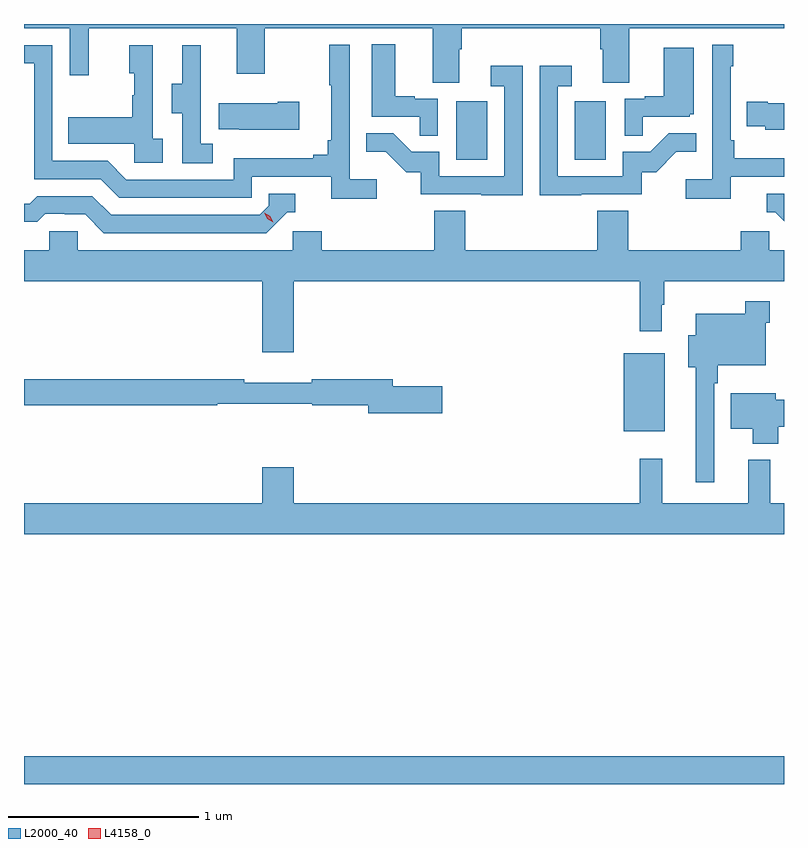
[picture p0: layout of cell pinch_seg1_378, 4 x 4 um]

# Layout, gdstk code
import gdstk
lib = gdstk.Library(unit=1e-6, precision=1e-09)
def R(c, l, rs):  # rectangles x0, y0, x1, y1
    for r in rs: c.add(gdstk.rectangle(r[:2], r[2:], *l))
def P(c, l, *ps):  # polygons
    for p in ps: c.add(gdstk.Polygon(p, *l))
L2000_40 = (2000, 40)
L4158_0 = (4158, 0)

pinch_seg1_378 = lib.new_cell('pinch_seg1_378')
R(pinch_seg1_378, L2000_40, [(966.949,525.11,970.949,525.256), (970.106,526.967,970.321,527.377), (969.224,528.396,969.388,528.703), (969.848,528.396,970.012,528.703)])
P(pinch_seg1_378, L2000_40, [(969.241,528.976),(969.254,528.976),(969.254,529.088),(969.983,529.088),(969.983,528.976),(969.995,528.976),(969.995,528.802),(970.135,528.802),(970.135,529.088),(970.949,529.088),(970.949,529.11),(966.949,529.11),(966.949,529.088),(967.191,529.088),(967.191,528.84),(967.289,528.84),(967.289,529.088),(968.069,529.088),(968.069,528.849),(968.217,528.849),(968.217,529.088),(969.101,529.088),(969.101,528.802),(969.241,528.802)],
  [(969.126,528.717),(969.005,528.717),(969.005,528.73),(968.902,528.73),(968.902,529.003),(968.78,529.003),(968.78,528.621),(969.031,528.621),(969.031,528.523),(969.126,528.523)],
  [(970.67,528.306),(970.949,528.306),(970.949,528.403),(970.688,528.403),(970.688,528.499),(970.668,528.499),(970.668,528.887),(970.681,528.887),(970.681,529),(970.572,529),(970.572,528.292),(970.431,528.292),(970.431,528.19),(970.67,528.19)],
  [(968.806,528.292),(968.664,528.292),(968.664,529),(968.556,529),(968.556,528.787),(968.567,528.787),(968.567,528.499),(968.548,528.499),(968.548,528.422),(968.471,528.422),(968.471,528.403),(968.052,528.403),(968.052,528.291),(967.488,528.291),(967.389,528.39),(967.098,528.39),(967.098,528.999),(966.949,528.999),(966.949,528.903),(967.002,528.903),(967.002,528.294),(967.352,528.294),(967.451,528.195),(968.148,528.195),(968.148,528.306),(968.567,528.306),(968.567,528.19),(968.806,528.19)],
  [(967.942,528.479),(967.878,528.479),(967.878,528.783),(967.88,528.783),(967.88,528.997),(967.781,528.997),(967.781,528.795),(967.727,528.795),(967.727,528.64),(967.782,528.64),(967.782,528.376),(967.942,528.376)],
  [(967.678,528.506),(967.626,528.506),(967.626,528.997),(967.502,528.997),(967.502,528.852),(967.528,528.852),(967.528,528.734),(967.518,528.734),(967.518,528.619),(967.183,528.619),(967.183,528.479),(967.53,528.479),(967.53,528.381),(967.678,528.381)],
  [(970.205,528.621),(970.452,528.621),(970.452,528.636),(970.474,528.636),(970.474,528.985),(970.316,528.985),(970.316,528.73),(970.217,528.73),(970.217,528.717),(970.11,528.717),(970.11,528.523),(970.205,528.523)],
  [(969.573,528.889),(969.405,528.889),(969.405,528.783),(969.477,528.783),(969.477,528.309),(969.135,528.309),(969.135,528.438),(968.99,528.438),(968.892,528.536),(968.749,528.536),(968.749,528.437),(968.853,528.437),(968.96,528.33),(969.037,528.33),(969.037,528.213),(969.355,528.213),(969.355,528.208),(969.573,528.208)],
  [(969.881,528.213),(970.2,528.213),(970.2,528.33),(970.276,528.33),(970.383,528.437),(970.487,528.437),(970.487,528.536),(970.343,528.536),(970.245,528.438),(970.101,528.438),(970.101,528.309),(969.759,528.309),(969.759,528.783),(969.832,528.783),(969.832,528.889),(969.663,528.889),(969.663,528.208),(969.881,528.208)],
  [(968.398,528.702),(968.285,528.702),(968.285,528.694),(967.975,528.694),(967.975,528.557),(968.083,528.557),(968.083,528.554),(968.398,528.554)],
  [(970.949,528.694),(970.864,528.694),(970.864,528.702),(970.753,528.702),(970.753,528.572),(970.851,528.572),(970.851,528.554),(970.949,528.554)],
  [(970.949,528.216),(970.859,528.216),(970.859,528.12),(970.902,528.12),(970.949,528.073)],
  [(968.334,528.12),(968.377,528.12),(968.377,528.216),(968.238,528.216),(968.238,528.153),(968.19,528.105),(967.407,528.105),(967.308,528.204),(967.019,528.204),(966.98,528.165),(966.949,528.165),(966.949,528.069),(967.019,528.069),(967.061,528.111),(967.164,528.111),(967.164,528.108),(967.271,528.108),(967.37,528.009),(968.223,528.009)],
  [(970.189,527.493),(970.306,527.493),(970.306,527.633),(970.318,527.633),(970.318,527.756),(970.949,527.756),(970.949,527.92),(970.872,527.92),(970.872,528.018),(970.721,528.018),(970.721,527.92),(970.13,527.92),(970.13,528.128),(969.965,528.128),(969.965,527.92),(969.272,527.92),(969.272,528.128),(969.107,528.128),(969.107,527.92),(968.516,527.92),(968.516,528.018),(968.364,528.018),(968.364,527.92),(967.233,527.92),(967.233,528.018),(967.083,528.018),(967.083,527.92),(966.949,527.92),(966.949,527.756),(968.204,527.756),(968.204,527.382),(968.368,527.382),(968.368,527.756),(970.189,527.756)],
  [(970.581,527.219),(970.601,527.219),(970.601,527.315),(970.854,527.315),(970.854,527.537),(970.874,527.537),(970.874,527.65),(970.746,527.65),(970.746,527.584),(970.484,527.584),(970.484,527.473),(970.445,527.473),(970.445,527.303),(970.484,527.303),(970.484,526.698),(970.581,526.698)],
  [(969.151,527.204),(968.89,527.204),(968.89,527.24),(968.464,527.24),(968.464,527.221),(968.108,527.221),(968.108,527.24),(966.949,527.24),(966.949,527.104),(967.966,527.104),(967.966,527.112),(968.466,527.112),(968.466,527.104),(968.762,527.104),(968.762,527.062),(969.151,527.062)],
  [(970.919,526.99),(970.949,526.99),(970.949,527.132),(970.906,527.132),(970.906,527.167),(970.67,527.167),(970.67,526.979),(970.784,526.979),(970.784,526.901),(970.919,526.901)],
  [(970.949,526.588),(970.877,526.588),(970.877,526.816),(970.76,526.816),(970.76,526.588),(970.307,526.588),(970.307,526.822),(970.189,526.822),(970.189,526.588),(968.368,526.588),(968.368,526.777),(968.204,526.777),(968.204,526.588),(966.949,526.588),(966.949,526.424),(970.949,526.424)])
P(pinch_seg1_378, L4158_0, [(968.26,528.066),(968.229,528.085),(968.213,528.117),(968.213,528.117),(968.213,528.117),(968.244,528.098),(968.26,528.066),(968.26,528.066)])

lib.write_gds('pinch_seg1_378.gds')
